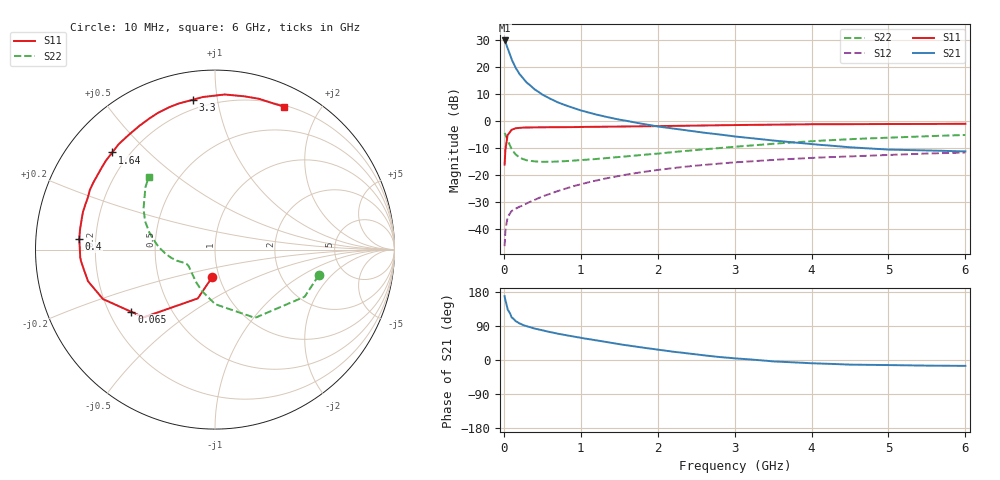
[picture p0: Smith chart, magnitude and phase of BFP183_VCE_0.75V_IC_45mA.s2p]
! Infineon Technologies  Discrete & RF Semiconductors
! BFP183
! VCE = 0.75V,  IC =  45 mA
! Common Emitter S-Parameters:  Jan 2016
# GHz  S  MA  R  50
!  f  S11  S21  S12  S22
! GHz  MAG  ANG  MAG  ANG  MAG  ANG  MAG  ANG
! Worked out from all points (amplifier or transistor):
!   210 points, 10 MHz to 6 GHz, reference 50 ohm
!   highest |S21| = 29.9 dB at 10 MHz (marker M1)
!   |S21| within 3 dB of that: start of sweep to 51.77 MHz
!   unconditionally stable (mu >= 1): start of sweep to 32.56 MHz; 157.3 MHz to end of sweep
!   at 185 MHz: K = 1.10, MAG = 23.3 dB, |S12| = -32.1 dB
!   at 1.52 GHz: K = 1.95, MAG = 4.8 dB, |S12| = -20.3 dB
!   at 6 GHz: K = 1.55, MAG = -4.2 dB, |S12| = -11.8 dB
!   S11 on the Smith chart (normalised r, x): 10 MHz: 0.93, -0.29; 65 MHz: 0.29, -0.31; 400 MHz: 0.14, +0.04; 1.64 GHz: 0.14, +0.39; 3.3 GHz: 0.15, +0.85; 6 GHz: 0.21, +1.57
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0.01  0.154 -95.8  31.22 168.4  0.0047 64.2  0.5955 -13.9
0.02  0.2883 -109.4  29.62 157.5  0.0089 64.8  0.5645 -27.7
0.05  0.5484 -136.5  22.43 132.7  0.0163 50.0  0.441 -59.6
0.065  0.5807 -143.3  19.69 128.6  0.0177 46.0  0.3901 -66.4
0.1  0.6824 -156.2  13.94 112.8  0.0211 38.9  0.3039 -89.9
0.15  0.7291 -166.0  9.86 102.9  0.0233 38.6  0.2412 -107.9
0.2  0.74 -171.7  7.549 96.8  0.0253 39.5  0.2111 -119.4
0.26  0.7521 -176.7  5.901 91.5  0.0274 42.4  0.1926 -128.5
0.3  0.7522 -179.4  5.106 88.7  0.0295 45.1  0.1851 -133.6
0.4  0.7588 175.6  3.852 82.9  0.034 49.0  0.1768 -141.7
0.5  0.7603 171.5  3.083 78.2  0.0392 51.8  0.1733 -146.3
0.6  0.7619 167.5  2.592 73.6  0.0441 53.9  0.1738 -149.6
0.7  0.765 164.0  2.215 69.5  0.0496 55.6  0.1755 -152.1
1.02  0.7726 154.0  1.539 57.9  0.0675 56.9  0.187 -156.9
1.3  0.777 145.9  1.212 48.4  0.0838 55.9  0.2014 -159.9
1.64  0.7882 136.6  0.973 37.6  0.103 53.1  0.2222 -164.0
2.02  0.8001 126.6  0.781 26.8  0.1235 49.0  0.2481 -169.4
3.1  0.8395 102.1  0.497 3.0  0.1732 35.7  0.3391 172.1
3.3  0.8444 98.3  0.464 -0.1  0.1809 33.2  0.3571 168.8
4.1  0.8655 85.0  0.36 -9.2  0.2083 23.9  0.4273 156.3
5.1  0.8747 72.8  0.291 -13.7  0.2352 14.1  0.4949 142.3
6  0.8849 64.2  0.271 -15.5  0.2577 4.4  0.5468 132.6
